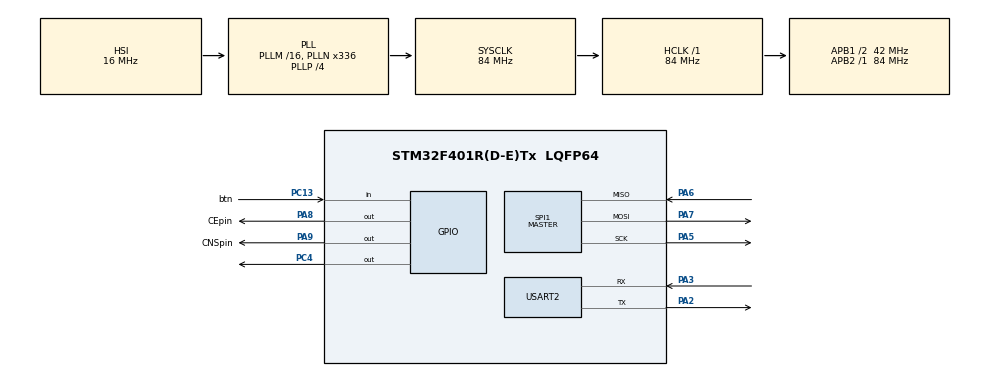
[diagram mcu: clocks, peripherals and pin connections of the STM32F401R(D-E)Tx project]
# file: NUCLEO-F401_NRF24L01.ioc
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Mcu.Family=STM32F4
PA6.Mode=Full_Duplex_Master
RCC.CortexFreq_Value=84000000
PA7.Mode=Full_Duplex_Master
SPI1.VirtualType=VM_MASTER
PC13-ANTI_TAMP.GPIO_Label=btn
PA9.GPIO_Label=CNSpin
PC4.Signal=GPIO_Output
RCC.APB1CLKDivider=RCC_HCLK_DIV2
RCC.SYSCLKSource=RCC_SYSCLKSOURCE_PLLCLK
ProjectManager.StackSize=0x400
PA3.Mode=Asynchronous
PA8.GPIO_Label=CEpin
ProjectManager.TargetToolchain=STM32CubeIDE
SPI1.Direction=SPI_DIRECTION_2LINES
RCC.HCLKFreq_Value=84000000
RCC.APB2TimFreq_Value=84000000
PA9.Signal=GPIO_Output
RCC.AHBFreq_Value=84000000
PA5.Signal=SPI1_SCK
RCC.HSE_VALUE=8000000
board=NUCLEO-F401RE
PC13-ANTI_TAMP.Signal=GPIO_Input
RCC.VCOOutputFreq_Value=336000000
RCC.APB2Freq_Value=84000000
SPI1.Mode=SPI_MODE_MASTER
PA8.Signal=GPIO_Output
Mcu.Name=STM32F401R(D-E)Tx
PA2.Signal=USART2_TX
RCC.48MHZClocksFreq_Value=48000000
RCC.SYSCLKFreq_VALUE=84000000
Mcu.Package=LQFP64
PA6.Signal=SPI1_MISO
USART2.VirtualMode=VM_ASYNC
ProjectManager.HeapSize=0x200
RCC.HSI_VALUE=16000000
RCC.PLLP=RCC_PLLP_DIV4
RCC.PLLQ=7
NVIC.PriorityGroup=NVIC_PRIORITYGROUP_0
RCC.PLLN=336
RCC.APB1TimFreq_Value=84000000
PA2.Mode=Asynchronous
RCC.APB1Freq_Value=42000000
SPI1.BaudRatePrescaler=SPI_BAUDRATEPRESCALER_32
PA3.Signal=USART2_RX
PA5.Mode=Full_Duplex_Master
PA7.Signal=SPI1_MOSI

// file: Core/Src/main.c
/* USER CODE BEGIN Header */
/**
  ******************************************************************************
  * @file           : main.c
  * @brief          : Main program body
  ******************************************************************************
  * @attention
  *
  * <h2><center>&copy; Copyright (c) 2021 STMicroelectronics.
  * All rights reserved.</center></h2>
  *
  * This software component is licensed by ST under BSD 3-Clause license,
  * the "License"; You may not use this file except in compliance with the
  * License. You may obtain a copy of the License at:
  *                        opensource.org/licenses/BSD-3-Clause
  *
  ******************************************************************************
  */
/* USER CODE END Header */
#include "main.h"

/* USER CODE BEGIN Includes */
#include "MY_NRF24.h"
/* USER CODE END Includes */

/* USER CODE BEGIN PTD */
//#define TRANSMITTER
/* USER CODE END PTD */

SPI_HandleTypeDef hspi1;

UART_HandleTypeDef huart2;

void SystemClock_Config(void);
static void MX_GPIO_Init(void);
static void MX_USART2_UART_Init(void);
static void MX_SPI1_Init(void);

/* USER CODE BEGIN 0 */

#ifdef TRANSMITTER
#else
#endif

#ifdef TRANSMITTER
uint64_t TxpipeAddrs = 0x11223344AA;
char myTxData[32] = "Hello World!";
#else
uint64_t RxpipeAddrs = 0x11223344AA;
char myRxData[50];
#endif
/* USER CODE END 0 */

int main(void)
{

  /* MCU Configuration--------------------------------------------------------*/

  /* Reset of all peripherals, Initializes the Flash interface and the Systick. */
  HAL_Init();

  /* Configure the system clock */
  SystemClock_Config();

  /* Initialize all configured peripherals */
  MX_GPIO_Init();
  MX_USART2_UART_Init();
  MX_SPI1_Init();
  /* USER CODE BEGIN 2 */
  	NRF24_begin(CNSpin_GPIO_Port, CNSpin_Pin, CEpin_Pin, hspi1);
	nrf24_DebugUART_Init(huart2);

	printRadioSettings();

#ifdef TRANSMITTER
	//**** TRANSMIT - NO ACK ****//
	NRF24_stopListening();
	NRF24_openWritingPipe(TxpipeAddrs);
	NRF24_setAutoAck(false);
	NRF24_setChannel(52);
	NRF24_setPayloadSize(32);
#else
	NRF24_setAutoAck(false);
	NRF24_setChannel(52);
	NRF24_setPayloadSize(32);
	NRF24_openReadingPipe(1, RxpipeAddrs);
	NRF24_startListening();
#endif

	/* USER CODE END 2 */

  /* Infinite loop */
  /* USER CODE BEGIN WHILE */
  while (1)
  {

#ifdef TRANSMITTER

	  if(NRF24_write(myTxData, 32))
	  		{
	  			//NRF24_read(AckPayload, 32);
	  			HAL_UART_Transmit(&huart2, (uint8_t *)"Transmitted Successfully\r\n", strlen("Transmitted Successfully\r\n"), 10);

	  		}

	  	HAL_Delay(1000);
#else
	  	if(NRF24_available())
	  			{
	  				NRF24_read(myRxData, 32);

	  				myRxData[32] = '\r'; myRxData[32+1] = '\n';
	  				HAL_UART_Transmit(&huart2, (uint8_t *)myRxData, 32+2, 10);
	  			}
#endif
	 /* USER CODE END WHILE */

  }
}

void SystemClock_Config(void)
{
  RCC_OscInitTypeDef RCC_OscInitStruct = {0};
  RCC_ClkInitTypeDef RCC_ClkInitStruct = {0};

  /** Configure the main internal regulator output voltage
  */
  __HAL_RCC_PWR_CLK_ENABLE();
  __HAL_PWR_VOLTAGESCALING_CONFIG(PWR_REGULATOR_VOLTAGE_SCALE2);
  /** Initializes the RCC Oscillators according to the specified parameters
  * in the RCC_OscInitTypeDef structure.
  */
  RCC_OscInitStruct.OscillatorType = RCC_OSCILLATORTYPE_HSI;
  RCC_OscInitStruct.HSIState = RCC_HSI_ON;
  RCC_OscInitStruct.HSICalibrationValue = RCC_HSICALIBRATION_DEFAULT;
  RCC_OscInitStruct.PLL.PLLState = RCC_PLL_ON;
  RCC_OscInitStruct.PLL.PLLSource = RCC_PLLSOURCE_HSI;
  RCC_OscInitStruct.PLL.PLLM = 16;
  RCC_OscInitStruct.PLL.PLLN = 336;
  RCC_OscInitStruct.PLL.PLLP = RCC_PLLP_DIV4;
  RCC_OscInitStruct.PLL.PLLQ = 7;
  if (HAL_RCC_OscConfig(&RCC_OscInitStruct) != HAL_OK)
  {
    Error_Handler();
  }
  /** Initializes the CPU, AHB and APB buses clocks
  */
  RCC_ClkInitStruct.ClockType = RCC_CLOCKTYPE_HCLK|RCC_CLOCKTYPE_SYSCLK
                              |RCC_CLOCKTYPE_PCLK1|RCC_CLOCKTYPE_PCLK2;
  RCC_ClkInitStruct.SYSCLKSource = RCC_SYSCLKSOURCE_PLLCLK;
  RCC_ClkInitStruct.AHBCLKDivider = RCC_SYSCLK_DIV1;
  RCC_ClkInitStruct.APB1CLKDivider = RCC_HCLK_DIV2;
  RCC_ClkInitStruct.APB2CLKDivider = RCC_HCLK_DIV1;

  if (HAL_RCC_ClockConfig(&RCC_ClkInitStruct, FLASH_LATENCY_2) != HAL_OK)
  {
    Error_Handler();
  }
}

static void MX_SPI1_Init(void)
{

  /* SPI1 parameter configuration*/
  hspi1.Instance = SPI1;
  hspi1.Init.Mode = SPI_MODE_MASTER;
  hspi1.Init.Direction = SPI_DIRECTION_2LINES;
  hspi1.Init.DataSize = SPI_DATASIZE_8BIT;
  hspi1.Init.CLKPolarity = SPI_POLARITY_LOW;
  hspi1.Init.CLKPhase = SPI_PHASE_1EDGE;
  hspi1.Init.NSS = SPI_NSS_SOFT;
  hspi1.Init.BaudRatePrescaler = SPI_BAUDRATEPRESCALER_32;
  hspi1.Init.FirstBit = SPI_FIRSTBIT_MSB;
  hspi1.Init.TIMode = SPI_TIMODE_DISABLE;
  hspi1.Init.CRCCalculation = SPI_CRCCALCULATION_DISABLE;
  hspi1.Init.CRCPolynomial = 10;
  if (HAL_SPI_Init(&hspi1) != HAL_OK)
  {
    Error_Handler();
  }

}

static void MX_USART2_UART_Init(void)
{

  huart2.Instance = USART2;
  huart2.Init.BaudRate = 115200;
  huart2.Init.WordLength = UART_WORDLENGTH_8B;
  huart2.Init.StopBits = UART_STOPBITS_1;
  huart2.Init.Parity = UART_PARITY_NONE;
  huart2.Init.Mode = UART_MODE_TX_RX;
  huart2.Init.HwFlowCtl = UART_HWCONTROL_NONE;
  huart2.Init.OverSampling = UART_OVERSAMPLING_16;
  if (HAL_UART_Init(&huart2) != HAL_OK)
  {
    Error_Handler();
  }

}

static void MX_GPIO_Init(void)
{
  GPIO_InitTypeDef GPIO_InitStruct = {0};

  /* GPIO Ports Clock Enable */
  __HAL_RCC_GPIOC_CLK_ENABLE();
  __HAL_RCC_GPIOA_CLK_ENABLE();

  /*Configure GPIO pin Output Level */
  HAL_GPIO_WritePin(GPIOC, GPIO_PIN_4, GPIO_PIN_RESET);

  /*Configure GPIO pin Output Level */
  HAL_GPIO_WritePin(GPIOA, CEpin_Pin|CNSpin_Pin, GPIO_PIN_RESET);

  /*Configure GPIO pin : btn_Pin */
  GPIO_InitStruct.Pin = btn_Pin;
  GPIO_InitStruct.Mode = GPIO_MODE_INPUT;
  GPIO_InitStruct.Pull = GPIO_NOPULL;
  HAL_GPIO_Init(btn_GPIO_Port, &GPIO_InitStruct);

  /*Configure GPIO pin : PC4 */
  GPIO_InitStruct.Pin = GPIO_PIN_4;
  GPIO_InitStruct.Mode = GPIO_MODE_OUTPUT_PP;
  GPIO_InitStruct.Pull = GPIO_NOPULL;
  GPIO_InitStruct.Speed = GPIO_SPEED_FREQ_LOW;
  HAL_GPIO_Init(GPIOC, &GPIO_InitStruct);

  /*Configure GPIO pins : CEpin_Pin CNSpin_Pin */
  GPIO_InitStruct.Pin = CEpin_Pin|CNSpin_Pin;
  GPIO_InitStruct.Mode = GPIO_MODE_OUTPUT_PP;
  GPIO_InitStruct.Pull = GPIO_NOPULL;
  GPIO_InitStruct.Speed = GPIO_SPEED_FREQ_LOW;
  HAL_GPIO_Init(GPIOA, &GPIO_InitStruct);

}

void Error_Handler(void)
{
  __disable_irq();
  while (1)
  {
  }
}

/************************ (C) COPYRIGHT STMicroelectronics *****END OF FILE****/
